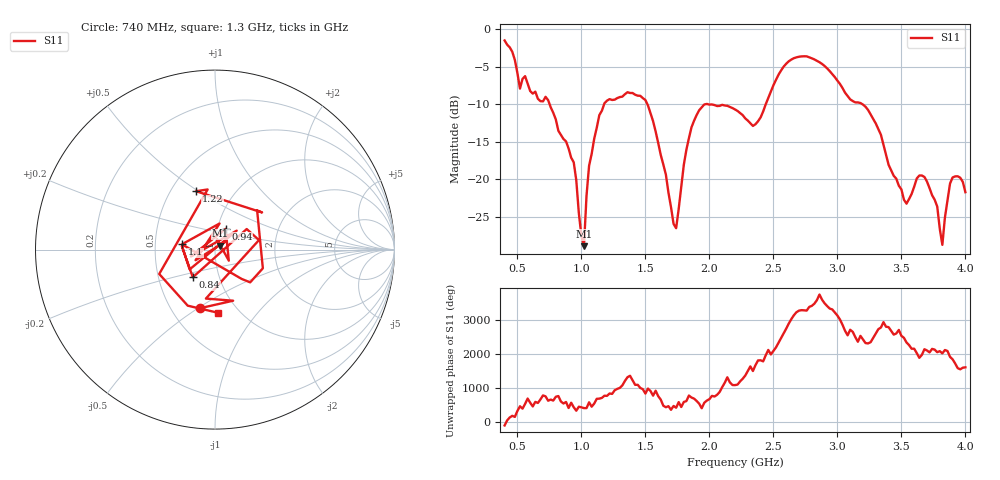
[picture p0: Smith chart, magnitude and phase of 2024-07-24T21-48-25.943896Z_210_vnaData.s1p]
!Created with skrf (http://scikit-rf.org).
# Hz S RI R 50.0
!freq ReS11 ImS11
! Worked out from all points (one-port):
!   181 points, 400 MHz to 4 GHz, reference 50 ohm
!   lowest |S11| = -28.9 dB at 1.02 GHz (marker M1), VSWR 1.07, Z = 52.9 + j2.3 ohm
!   |S11| at or under -10 dB: 1.516 GHz to 1.969 GHz (453.3 MHz wide, 26 % of centre); 1.989 GHz to 2.44 GHz (451.5 MHz wide, 20.4 % of centre); 3.195 GHz to end of sweep (the widest 3 of 4)
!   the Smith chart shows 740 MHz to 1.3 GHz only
!   S11 on the Smith chart (normalised r, x): 740 MHz: 0.69, -0.51; 840 MHz: 0.75, -0.24; 940 MHz: 1.09, +0.26; 1.1 GHz: 0.69, +0.04; 1.22 GHz: 0.66, +0.49; 1.3 GHz: 0.81, -0.65
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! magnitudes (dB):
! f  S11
! 400 MHz  -1.5
! 520 MHz  -7.9
! 740 MHz  -9.5
! 840 MHz  -14.1
! 860 MHz  -14.6
! 940 MHz  -17.7
! 1.02 GHz  -28.9
! 1.06 GHz  -18.2
! 1.1 GHz  -14.6
! 1.22 GHz  -9.3
! 1.3 GHz  -9.0
! 1.5 GHz  -9.4
! 1.66 GHz  -19.4
! 1.72 GHz  -25.9
! 1.76 GHz  -23.9
! 1.82 GHz  -16.1
! 1.92 GHz  -10.8
! 2.2 GHz  -10.7
! 2.36 GHz  -12.7
! 2.66 GHz  -3.9
! 3.1 GHz  -9.3
! 3.24 GHz  -10.8
! 3.56 GHz  -22.6
! 3.68 GHz  -19.7
! 3.78 GHz  -23.6
! 3.82 GHz  -28.7
! 3.9 GHz  -19.7
! 4 GHz  -21.7
